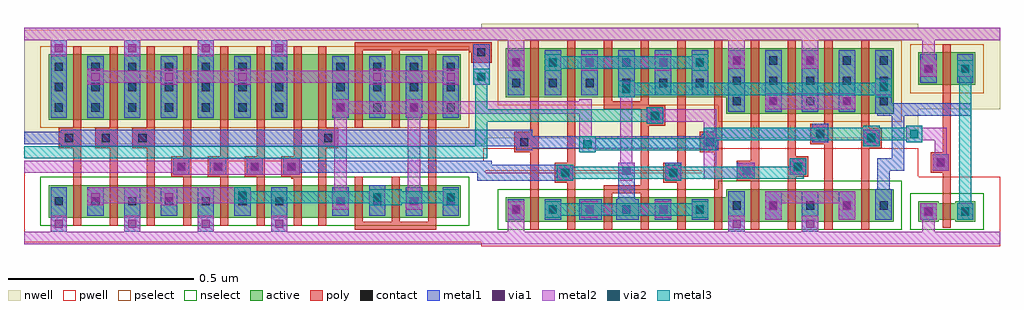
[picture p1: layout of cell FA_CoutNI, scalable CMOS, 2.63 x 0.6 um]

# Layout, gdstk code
import gdstk
lib = gdstk.Library(unit=1e-6, precision=1e-11)
def R(c, l, rs):  # rectangles x0, y0, x1, y1
    for r in rs: c.add(gdstk.rectangle(r[:2], r[2:], *l))
def A(c, l, x, y, w, h, nx, ny, dx, dy):  # array of equal rectangles
    R(c, l, [(x+i*dx, y+j*dy, x+i*dx+w, y+j*dy+h) for i in range(nx) for j in range(ny)])
contact = (25, 0)
pwell = (41, 0)
nwell = (42, 0)
active = (43, 0)
pselect = (44, 0)
nselect = (45, 0)
poly = (46, 0)
metal1 = (49, 0)
via1 = (50, 0)
metal2 = (51, 0)
via2 = (61, 0)
metal3 = (62, 0)

fa_coutni = lib.new_cell('FA_CoutNI')
A(fa_coutni, contact, -0.176, -0.1815, 0.022, 0.022, 6, 2, 0.099, 0.341)
A(fa_coutni, contact, 0.418, -0.1705, 0.022, 0.022, 5, 2, 0.099, 0.2805)
A(fa_coutni, contact, -1.408, -0.1595, 0.022, 0.022, 7, 2, 0.099, 0.253)
A(fa_coutni, contact, -0.649, -0.1595, 0.022, 0.022, 4, 2, 0.099, 0.253)
A(fa_coutni, contact, -1.078, -0.066, 0.022, 0.022, 4, 1, 0.099, 0)
A(fa_coutni, contact, -1.3805, 0.011, 0.022, 0.022, 3, 1, 0.099, 0)
A(fa_coutni, contact, -1.408, 0.1485, 0.022, 0.022, 7, 2, 0.099, 0.055)
A(fa_coutni, contact, -0.649, 0.1485, 0.022, 0.022, 4, 2, 0.099, 0.055)
A(fa_coutni, contact, 0.418, 0.165, 0.022, 0.022, 5, 2, 0.099, 0.055)
A(fa_coutni, contact, -0.176, 0.2145, 0.022, 0.022, 6, 1, 0.099, 0)
R(fa_coutni, contact, [(0.935,-0.187,0.957,-0.165), (1.034,-0.187,1.056,-0.165), (-0.044,-0.0825,-0.022,-0.0605), (0.2475,-0.0825,0.2695,-0.0605), (0.4455,-0.077,0.4675,-0.055), (0.583,-0.066,0.605,-0.044), (0.968,-0.055,0.99,-0.033), (-0.154,0,-0.132,0.022), (0.3465,0,0.3685,0.022), (-0.682,0.011,-0.66,0.033), (0.781,0.011,0.803,0.033), (0.6435,0.022,0.6655,0.044), (0.198,0.0715,0.22,0.0935), (0.935,0.198,0.957,0.22), (1.034,0.198,1.056,0.22), (-0.2695,0.242,-0.2475,0.264)])
A(fa_coutni, pwell, -0.2585, -0.2695, 0.187, 0.198, 6, 1, 0.099, 0)
A(fa_coutni, pwell, -0.2255, -0.2695, 0.22, 0.198, 6, 1, 0.099, 0)
A(fa_coutni, pwell, 0.3355, -0.2695, 0.187, 0.22, 5, 1, 0.099, 0)
A(fa_coutni, pwell, 0.3685, -0.2695, 0.22, 0.22, 4, 1, 0.099, 0)
A(fa_coutni, pwell, -1.4905, -0.2585, 0.187, 0.22, 7, 1, 0.099, 0)
A(fa_coutni, pwell, -1.4575, -0.2585, 0.22, 0.22, 7, 1, 0.099, 0)
A(fa_coutni, pwell, -0.7975, -0.2585, 0.22, 0.22, 4, 1, 0.099, 0)
A(fa_coutni, pwell, -0.7315, -0.2585, 0.187, 0.22, 4, 1, 0.099, 0)
R(fa_coutni, pwell, [(0.8525,-0.2695,1.0395,-0.0825), (0.9515,-0.2695,1.1385,-0.0825), (0.8855,-0.264,1.1055,-0.088), (0.946,-0.264,0.9542,-0.088), (1.0367,-0.264,1.045,-0.088), (-0.165,-0.253,-0.1567,-0.088), (-0.1567,-0.253,0.0165,-0.088), (-0.0742,-0.253,-0.066,-0.088), (-0.066,-0.253,-0.0577,-0.088), (0.0247,-0.253,0.033,-0.088), (0.033,-0.253,0.0412,-0.088), (0.1237,-0.253,0.132,-0.088), (0.132,-0.253,0.1402,-0.088), (0.2227,-0.253,0.231,-0.088), (0.231,-0.253,0.2392,-0.088), (0.3217,-0.253,0.33,-0.088), (0.33,-0.253,0.3382,-0.088), (0.4207,-0.242,0.429,-0.077), (0.429,-0.242,0.4372,-0.077), (0.5197,-0.242,0.528,-0.077), (0.528,-0.242,0.5363,-0.077), (0.6187,-0.242,0.627,-0.077), (0.627,-0.242,0.6352,-0.077), (0.7177,-0.242,0.726,-0.077), (0.726,-0.242,0.7342,-0.077), (0.8167,-0.242,0.825,-0.077), (-1.4795,-0.22,-1.3062,-0.055), (-1.3062,-0.22,-1.298,-0.055), (-1.298,-0.22,-1.2897,-0.055), (-1.2072,-0.22,-1.199,-0.055), (-1.199,-0.22,-1.1907,-0.055), (-1.1082,-0.22,-1.1,-0.055), (-1.1,-0.22,-1.0917,-0.055), (-1.0092,-0.22,-1.001,-0.055), (-1.001,-0.22,-0.9927,-0.055), (-0.9102,-0.22,-0.902,-0.055), (-0.902,-0.22,-0.8937,-0.055), (-0.8112,-0.22,-0.803,-0.055), (-0.803,-0.22,-0.7947,-0.055), (-0.7287,-0.22,-0.7122,-0.055), (-0.6462,-0.22,-0.638,-0.055), (-0.638,-0.22,-0.6297,-0.055), (-0.5472,-0.22,-0.539,-0.055), (-0.539,-0.22,-0.5307,-0.055), (-0.4482,-0.22,-0.44,-0.055), (-0.44,-0.22,-0.4317,-0.055), (-0.3492,-0.22,-0.341,-0.055), (-0.253,-0.066,0.9185,-0.033), (-0.253,-0.0385,0.9185,-0.0055)])
A(fa_coutni, nwell, -1.4905, 0.0055, 0.187, 0.308, 7, 1, 0.099, 0)
A(fa_coutni, nwell, -1.4575, 0.0055, 0.22, 0.308, 7, 1, 0.099, 0)
A(fa_coutni, nwell, -0.7975, 0.0055, 0.22, 0.308, 4, 1, 0.099, 0)
A(fa_coutni, nwell, -0.7315, 0.0055, 0.187, 0.308, 4, 1, 0.099, 0)
A(fa_coutni, nwell, 0.3355, 0.022, 0.187, 0.308, 5, 1, 0.099, 0)
A(fa_coutni, nwell, 0.3685, 0.022, 0.22, 0.308, 4, 1, 0.099, 0)
A(fa_coutni, nwell, -0.2585, 0.066, 0.187, 0.264, 6, 1, 0.099, 0)
A(fa_coutni, nwell, -0.2255, 0.066, 0.22, 0.264, 6, 1, 0.099, 0)
R(fa_coutni, nwell, [(-0.264,0.022,0.3355,0.044), (0.429,0.022,0.4372,0.33), (0.528,0.022,0.5363,0.33), (0.6187,0.022,0.627,0.33), (0.627,0.022,0.6352,0.33), (0.7177,0.022,0.726,0.33), (0.726,0.022,0.7342,0.33), (0.8167,0.022,0.825,0.33), (-0.2585,0.044,0.341,0.066), (-0.7287,0.0605,-0.7122,0.2255), (0.4207,0.066,0.429,0.33), (-1.4795,0.077,-1.3062,0.242), (-1.3887,0.077,-1.2155,0.242), (-1.3805,0.077,-1.2072,0.242), (-1.2897,0.077,-1.1165,0.242), (-1.2815,0.077,-1.1082,0.242), (-1.1907,0.077,-1.0175,0.242), (-1.1825,0.077,-1.0092,0.242), (-1.0917,0.077,-0.9185,0.242), (-1.0835,0.077,-0.9102,0.242), (-0.9927,0.077,-0.8195,0.242), (-0.9845,0.077,-0.8112,0.242), (-0.8937,0.077,-0.7205,0.242), (-0.8855,0.077,-0.7122,0.242), (-0.6462,0.077,-0.638,0.242), (-0.638,0.077,-0.6297,0.242), (-0.5472,0.077,-0.539,0.242), (-0.539,0.077,-0.5307,0.242), (-0.4482,0.077,-0.44,0.242), (-0.44,0.077,-0.4317,0.242), (-0.3492,0.077,-0.341,0.242), (0.5197,0.0935,0.528,0.2585), (0.8525,0.099,1.0395,0.319), (0.8855,0.099,1.1055,0.319), (0.946,0.099,0.9542,0.319), (0.9515,0.099,1.1385,0.319), (1.0367,0.099,1.045,0.319), (-0.165,0.1155,-0.1567,0.2805), (-0.0742,0.1155,-0.066,0.2805), (-0.066,0.1155,-0.0577,0.2805), (0.033,0.1155,0.0412,0.2805), (0.1237,0.1155,0.132,0.2805), (0.132,0.1155,0.1402,0.2805), (0.2227,0.1155,0.231,0.2805), (0.231,0.1155,0.2392,0.2805), (0.3217,0.1155,0.33,0.2805), (0.33,0.1155,0.3382,0.2805), (0.0247,0.121,0.033,0.286)])
A(fa_coutni, active, -0.1925, -0.2035, 0.055, 0.066, 6, 1, 0.099, 0)
A(fa_coutni, active, -0.1595, -0.2035, 0.088, 0.066, 6, 1, 0.099, 0)
A(fa_coutni, active, 0.4015, -0.2035, 0.055, 0.088, 5, 1, 0.099, 0)
A(fa_coutni, active, 0.4345, -0.2035, 0.088, 0.088, 4, 1, 0.099, 0)
A(fa_coutni, active, -1.4245, -0.1925, 0.055, 0.088, 7, 1, 0.099, 0)
A(fa_coutni, active, -1.3915, -0.1925, 0.088, 0.088, 7, 1, 0.099, 0)
A(fa_coutni, active, -0.7315, -0.1925, 0.088, 0.088, 4, 1, 0.099, 0)
A(fa_coutni, active, -0.6655, -0.1925, 0.055, 0.088, 4, 1, 0.099, 0)
A(fa_coutni, active, -1.4245, 0.0715, 0.055, 0.176, 7, 1, 0.099, 0)
A(fa_coutni, active, -1.3915, 0.0715, 0.088, 0.176, 7, 1, 0.099, 0)
A(fa_coutni, active, -0.7315, 0.0715, 0.088, 0.176, 4, 1, 0.099, 0)
A(fa_coutni, active, -0.6655, 0.0715, 0.055, 0.176, 4, 1, 0.099, 0)
A(fa_coutni, active, 0.4015, 0.088, 0.055, 0.176, 5, 1, 0.099, 0)
A(fa_coutni, active, 0.4345, 0.088, 0.088, 0.176, 4, 1, 0.099, 0)
A(fa_coutni, active, -0.1925, 0.132, 0.055, 0.132, 6, 1, 0.099, 0)
A(fa_coutni, active, -0.1595, 0.132, 0.088, 0.132, 6, 1, 0.099, 0)
R(fa_coutni, active, [(0.9185,-0.2035,0.9735,-0.1485), (1.0175,-0.2035,1.0725,-0.1485), (0.946,-0.198,0.9542,-0.154), (0.9515,-0.198,1.0395,-0.154), (1.0367,-0.198,1.045,-0.154), (-0.165,-0.187,-0.1567,-0.154), (-0.0907,-0.187,-0.0495,-0.154), (-0.0742,-0.187,-0.066,-0.154), (-0.066,-0.187,-0.0577,-0.154), (0.0247,-0.187,0.033,-0.154), (0.033,-0.187,0.0412,-0.154), (0.1237,-0.187,0.132,-0.154), (0.132,-0.187,0.1402,-0.154), (0.2227,-0.187,0.231,-0.154), (0.231,-0.187,0.2392,-0.154), (0.3217,-0.187,0.33,-0.154), (0.33,-0.187,0.3382,-0.154), (0.4207,-0.176,0.429,-0.143), (0.429,-0.176,0.4372,-0.143), (0.5197,-0.176,0.528,-0.143), (0.528,-0.176,0.5363,-0.143), (0.6187,-0.176,0.627,-0.143), (0.627,-0.176,0.6352,-0.143), (0.7177,-0.176,0.726,-0.143), (0.726,-0.176,0.7342,-0.143), (0.8167,-0.176,0.825,-0.143), (-1.4135,-0.154,-1.3722,-0.121), (-1.3062,-0.154,-1.298,-0.121), (-1.298,-0.154,-1.2897,-0.121), (-1.2072,-0.154,-1.199,-0.121), (-1.199,-0.154,-1.1907,-0.121), (-1.1082,-0.154,-1.1,-0.121), (-1.1,-0.154,-1.0917,-0.121), (-1.0092,-0.154,-1.001,-0.121), (-1.001,-0.154,-0.9927,-0.121), (-0.9102,-0.154,-0.902,-0.121), (-0.902,-0.154,-0.8937,-0.121), (-0.8112,-0.154,-0.803,-0.121), (-0.803,-0.154,-0.7947,-0.121), (-0.7287,-0.154,-0.7122,-0.121), (-0.6462,-0.154,-0.638,-0.121), (-0.638,-0.154,-0.6297,-0.121), (-0.5472,-0.154,-0.539,-0.121), (-0.539,-0.154,-0.5307,-0.121), (-0.4482,-0.154,-0.44,-0.121), (-0.44,-0.154,-0.4317,-0.121), (-0.3492,-0.154,-0.341,-0.121), (0.429,0.088,0.4372,0.264), (0.528,0.088,0.5363,0.264), (0.6187,0.088,0.627,0.264), (0.627,0.088,0.6352,0.264), (0.7177,0.088,0.726,0.264), (0.726,0.088,0.7342,0.264), (0.8167,0.088,0.825,0.264), (-0.7287,0.1265,-0.7122,0.1595), (0.4207,0.132,0.429,0.264), (-1.4135,0.143,-1.3722,0.176), (-1.3227,0.143,-1.2815,0.176), (-1.3145,0.143,-1.2732,0.176), (-1.2237,0.143,-1.1825,0.176), (-1.2155,0.143,-1.1742,0.176), (-1.1247,0.143,-1.0835,0.176), (-1.1165,0.143,-1.0752,0.176), (-1.0257,0.143,-0.9845,0.176), (-1.0175,0.143,-0.9762,0.176), (-0.9267,0.143,-0.8855,0.176), (-0.9185,0.143,-0.8772,0.176), (-0.8277,0.143,-0.7865,0.176), (-0.8195,0.143,-0.7782,0.176), (-0.6462,0.143,-0.638,0.176), (-0.638,0.143,-0.6297,0.176), (-0.5472,0.143,-0.539,0.176), (-0.539,0.143,-0.5307,0.176), (-0.4482,0.143,-0.44,0.176), (-0.44,0.143,-0.4317,0.176), (-0.3492,0.143,-0.341,0.176), (0.5197,0.1595,0.528,0.1925), (0.9185,0.165,0.9735,0.253), (0.946,0.165,0.9542,0.253), (0.9515,0.165,1.0395,0.253), (1.0175,0.165,1.0725,0.253), (1.0367,0.165,1.045,0.253), (-0.165,0.1815,-0.1567,0.2145), (-0.0742,0.1815,-0.066,0.2145), (-0.066,0.1815,-0.0577,0.2145), (0.033,0.1815,0.0412,0.2145), (0.1237,0.1815,0.132,0.2145), (0.132,0.1815,0.1402,0.2145), (0.2227,0.1815,0.231,0.2145), (0.231,0.1815,0.2392,0.2145), (0.3217,0.1815,0.33,0.2145), (0.33,0.1815,0.3382,0.2145), (0.0247,0.187,0.033,0.22)])
A(fa_coutni, pselect, -1.4465, 0.0495, 0.099, 0.22, 7, 1, 0.099, 0)
A(fa_coutni, pselect, -1.4135, 0.0495, 0.132, 0.22, 7, 1, 0.099, 0)
A(fa_coutni, pselect, -0.7535, 0.0495, 0.132, 0.22, 4, 1, 0.099, 0)
A(fa_coutni, pselect, -0.6875, 0.0495, 0.099, 0.22, 4, 1, 0.099, 0)
A(fa_coutni, pselect, 0.3795, 0.066, 0.099, 0.22, 5, 1, 0.099, 0)
A(fa_coutni, pselect, 0.4125, 0.066, 0.132, 0.22, 4, 1, 0.099, 0)
A(fa_coutni, pselect, -0.2145, 0.11, 0.099, 0.176, 6, 1, 0.099, 0)
A(fa_coutni, pselect, -0.1815, 0.11, 0.132, 0.176, 6, 1, 0.099, 0)
R(fa_coutni, pselect, [(0.429,0.066,0.4372,0.286), (0.528,0.066,0.5363,0.286), (0.6187,0.066,0.627,0.286), (0.627,0.066,0.6352,0.286), (0.7177,0.066,0.726,0.286), (0.726,0.066,0.7342,0.286), (0.8167,0.066,0.825,0.286), (-0.7287,0.1045,-0.7122,0.1815), (0.4207,0.11,0.429,0.286), (-1.4355,0.121,-1.3502,0.198), (-1.3447,0.121,-1.2595,0.198), (-1.3365,0.121,-1.2512,0.198), (-1.2457,0.121,-1.1605,0.198), (-1.2375,0.121,-1.1522,0.198), (-1.1467,0.121,-1.0615,0.198), (-1.1385,0.121,-1.0532,0.198), (-1.0477,0.121,-0.9625,0.198), (-1.0395,0.121,-0.9542,0.198), (-0.9487,0.121,-0.8635,0.198), (-0.9405,0.121,-0.8552,0.198), (-0.8497,0.121,-0.7645,0.198), (-0.8415,0.121,-0.7562,0.198), (-0.6462,0.121,-0.638,0.198), (-0.638,0.121,-0.6297,0.198), (-0.5472,0.121,-0.539,0.198), (-0.539,0.121,-0.5307,0.198), (-0.4482,0.121,-0.44,0.198), (-0.44,0.121,-0.4317,0.198), (-0.3492,0.121,-0.341,0.198), (0.5197,0.1375,0.528,0.2145), (0.8965,0.143,0.9955,0.275), (0.9295,0.143,1.0615,0.275), (0.946,0.143,0.9542,0.275), (0.9955,0.143,1.0945,0.275), (1.0367,0.143,1.045,0.275), (-0.165,0.1595,-0.1567,0.2365), (-0.0742,0.1595,-0.066,0.2365), (-0.066,0.1595,-0.0577,0.2365), (0.033,0.1595,0.0412,0.2365), (0.1237,0.1595,0.132,0.2365), (0.132,0.1595,0.1402,0.2365), (0.2227,0.1595,0.231,0.2365), (0.231,0.1595,0.2392,0.2365), (0.3217,0.1595,0.33,0.2365), (0.33,0.1595,0.3382,0.2365), (0.0247,0.165,0.033,0.242)])
A(fa_coutni, nselect, -0.2145, -0.2255, 0.099, 0.11, 6, 1, 0.099, 0)
A(fa_coutni, nselect, -0.1815, -0.2255, 0.132, 0.11, 6, 1, 0.099, 0)
A(fa_coutni, nselect, 0.3795, -0.2255, 0.099, 0.132, 5, 1, 0.099, 0)
A(fa_coutni, nselect, 0.4125, -0.2255, 0.132, 0.132, 4, 1, 0.099, 0)
A(fa_coutni, nselect, -1.4465, -0.2145, 0.099, 0.132, 7, 1, 0.099, 0)
A(fa_coutni, nselect, -1.4135, -0.2145, 0.132, 0.132, 7, 1, 0.099, 0)
A(fa_coutni, nselect, -0.7535, -0.2145, 0.132, 0.132, 4, 1, 0.099, 0)
A(fa_coutni, nselect, -0.6875, -0.2145, 0.099, 0.132, 4, 1, 0.099, 0)
R(fa_coutni, nselect, [(0.8965,-0.2255,0.9955,-0.1265), (0.9955,-0.2255,1.0945,-0.1265), (0.9295,-0.22,1.0615,-0.132), (0.946,-0.22,0.9542,-0.132), (1.0367,-0.22,1.045,-0.132), (-0.165,-0.209,-0.1567,-0.132), (-0.1127,-0.209,-0.0275,-0.132), (-0.0742,-0.209,-0.066,-0.132), (-0.066,-0.209,-0.0577,-0.132), (0.0247,-0.209,0.033,-0.132), (0.033,-0.209,0.0412,-0.132), (0.1237,-0.209,0.132,-0.132), (0.132,-0.209,0.1402,-0.132), (0.2227,-0.209,0.231,-0.132), (0.231,-0.209,0.2392,-0.132), (0.3217,-0.209,0.33,-0.132), (0.33,-0.209,0.3382,-0.132), (0.4207,-0.198,0.429,-0.121), (0.429,-0.198,0.4372,-0.121), (0.5197,-0.198,0.528,-0.121), (0.528,-0.198,0.5363,-0.121), (0.6187,-0.198,0.627,-0.121), (0.627,-0.198,0.6352,-0.121), (0.7177,-0.198,0.726,-0.121), (0.726,-0.198,0.7342,-0.121), (0.8167,-0.198,0.825,-0.121), (-1.4355,-0.176,-1.3502,-0.099), (-1.3062,-0.176,-1.298,-0.099), (-1.298,-0.176,-1.2897,-0.099), (-1.2072,-0.176,-1.199,-0.099), (-1.199,-0.176,-1.1907,-0.099), (-1.1082,-0.176,-1.1,-0.099), (-1.1,-0.176,-1.0917,-0.099), (-1.0092,-0.176,-1.001,-0.099), (-1.001,-0.176,-0.9927,-0.099), (-0.9102,-0.176,-0.902,-0.099), (-0.902,-0.176,-0.8937,-0.099), (-0.8112,-0.176,-0.803,-0.099), (-0.803,-0.176,-0.7947,-0.099), (-0.7287,-0.176,-0.7122,-0.099), (-0.6462,-0.176,-0.638,-0.099), (-0.638,-0.176,-0.6297,-0.099), (-0.5472,-0.176,-0.539,-0.099), (-0.539,-0.176,-0.5307,-0.099), (-0.4482,-0.176,-0.44,-0.099), (-0.44,-0.176,-0.4317,-0.099), (-0.3492,-0.176,-0.341,-0.099)])
A(fa_coutni, poly, -0.1265, -0.2255, 0.022, 0.11, 6, 1, 0.099, 0)
A(fa_coutni, poly, 0.4675, -0.2255, 0.022, 0.132, 4, 1, 0.099, 0)
A(fa_coutni, poly, -1.3585, -0.2145, 0.022, 0.132, 7, 1, 0.099, 0)
A(fa_coutni, poly, -0.6985, -0.2145, 0.022, 0.132, 4, 1, 0.099, 0)
A(fa_coutni, poly, -1.0615, -0.0935, 0.022, 0.0495, 3, 1, 0.099, 0)
A(fa_coutni, poly, -1.0945, -0.0825, 0.055, 0.055, 4, 1, 0.099, 0)
A(fa_coutni, poly, -1.067, -0.0825, 0.0165, 0.055, 3, 1, 0.099, 0)
A(fa_coutni, poly, -1.0615, -0.066, 0.022, 0.1265, 3, 1, 0.099, 0)
A(fa_coutni, poly, -1.397, -0.0055, 0.055, 0.055, 3, 1, 0.099, 0)
A(fa_coutni, poly, -1.3695, -0.0055, 0.022, 0.055, 3, 1, 0.099, 0)
A(fa_coutni, poly, -1.3585, 0.011, 0.022, 0.0495, 3, 1, 0.099, 0)
A(fa_coutni, poly, -1.3585, 0.0495, 0.022, 0.22, 7, 1, 0.099, 0)
A(fa_coutni, poly, -0.6985, 0.0495, 0.022, 0.22, 4, 1, 0.099, 0)
A(fa_coutni, poly, 0.4675, 0.066, 0.022, 0.22, 4, 1, 0.099, 0)
A(fa_coutni, poly, -0.1265, 0.11, 0.022, 0.176, 6, 1, 0.099, 0)
R(fa_coutni, poly, [(-0.5995,-0.2255,-0.4785,-0.2035), (-0.5005,-0.2255,-0.3795,-0.2035), (0.9845,-0.22,1.0065,-0.132), (0.9845,-0.143,1.0065,-0.033), (-0.1265,-0.1265,-0.1045,0.022), (-0.0275,-0.1265,-0.0055,-0.0605), (0.0715,-0.1265,0.1925,-0.1045), (0.1705,-0.1265,0.1925,0.0935), (0.2695,-0.1265,0.2915,-0.0605), (0.3685,-0.1265,0.3905,0.022), (0.4675,-0.1045,0.4895,-0.055), (0.5665,-0.1045,0.5885,-0.044), (0.6655,-0.1045,0.6875,0.044), (0.7645,-0.1045,0.7865,0.033), (-0.0605,-0.099,-0.0055,-0.044), (-0.0385,-0.099,-0.0165,-0.044), (0.231,-0.099,0.286,-0.044), (0.2585,-0.099,0.2805,-0.044), (-1.3585,-0.0935,-1.3365,0.033), (-1.2595,-0.0935,-1.2375,0.0605), (-1.1605,-0.0935,-1.1385,0.033), (-0.7645,-0.0935,-0.7425,-0.0495), (-0.6985,-0.0935,-0.6765,0.033), (-0.4015,-0.0935,-0.3795,0.0605), (0.429,-0.0935,0.484,-0.0385), (0.4565,-0.0935,0.4785,-0.0385), (-0.77,-0.088,-0.7535,-0.033), (-0.0275,-0.0825,-0.0055,0.121), (0.2695,-0.0825,0.2915,0.121), (0.5665,-0.0825,0.6215,-0.0275), (0.5775,-0.0825,0.594,-0.0275), (0.4675,-0.077,0.4895,0.077), (-0.7645,-0.0715,-0.7425,0.0605), (0.9515,-0.0715,1.0065,-0.0165), (0.5665,-0.066,0.5885,0.077), (0.9625,-0.055,1.0065,-0.033), (0.9845,-0.055,1.0065,0.154), (-0.1705,-0.0165,-0.1155,0.0385), (-0.1485,-0.0165,-0.1155,0.0385), (0.33,-0.0165,0.385,0.0385), (0.3575,-0.0165,0.3795,0.0385), (-0.6985,-0.0055,-0.6435,0.0495), (-0.6875,-0.0055,-0.6655,0.0495), (0.7645,-0.0055,0.8195,0.0495), (0.7755,-0.0055,0.792,0.0495), (-0.1265,0,-0.1045,0.121), (0.3685,0,0.3905,0.121), (0.627,0.0055,0.682,0.0605), (0.6545,0.0055,0.6765,0.0605), (-0.6985,0.011,-0.6765,0.0605), (0.7645,0.011,0.7865,0.077), (0.6655,0.022,0.6875,0.077), (0.1815,0.055,0.2365,0.11), (0.1815,0.055,0.209,0.11), (0.1705,0.0715,0.1925,0.121), (0.0715,0.099,0.1925,0.121), (0.9845,0.132,1.0065,0.154), (0.9845,0.143,1.0065,0.275), (-0.286,0.2255,-0.231,0.2805), (-0.2805,0.2255,-0.2585,0.2805), (-0.2915,0.253,-0.2695,0.2695), (-0.5995,0.2585,-0.4785,0.2805), (-0.5005,0.2585,-0.3795,0.2805), (-0.4015,0.2585,-0.2695,0.2805)])
A(fa_coutni, metal1, -1.419, -0.231, 0.044, 0.044, 4, 2, 0.198, 0.473)
A(fa_coutni, metal1, -1.419, -0.231, 0.044, 0.11, 4, 1, 0.198, 0)
A(fa_coutni, metal1, -0.187, -0.198, 0.044, 0.055, 6, 1, 0.099, 0)
A(fa_coutni, metal1, 0.506, -0.198, 0.044, 0.077, 3, 1, 0.099, 0)
A(fa_coutni, metal1, -1.419, -0.187, 0.044, 0.077, 7, 1, 0.099, 0)
A(fa_coutni, metal1, -0.66, -0.187, 0.044, 0.077, 4, 1, 0.099, 0)
A(fa_coutni, metal1, -1.3915, 0, 0.044, 0.044, 3, 1, 0.099, 0)
A(fa_coutni, metal1, -1.419, 0.077, 0.044, 0.165, 7, 1, 0.099, 0)
A(fa_coutni, metal1, -0.66, 0.077, 0.044, 0.165, 4, 1, 0.099, 0)
A(fa_coutni, metal1, 0.407, 0.0935, 0.044, 0.165, 5, 1, 0.099, 0)
A(fa_coutni, metal1, -1.419, 0.1375, 0.044, 0.1485, 4, 1, 0.198, 0)
A(fa_coutni, metal1, -1.32, 0.1375, 0.044, 0.0715, 3, 1, 0.198, 0)
A(fa_coutni, metal1, -0.187, 0.1375, 0.044, 0.121, 6, 1, 0.099, 0)
A(fa_coutni, metal1, -1.32, 0.165, 0.044, 0.044, 3, 1, 0.198, 0)
A(fa_coutni, metal1, -0.187, 0.2035, 0.044, 0.044, 3, 1, 0.099, 0)
R(fa_coutni, metal1, [(0.407,-0.231,0.451,-0.187), (0.407,-0.231,0.451,-0.1375), (0.605,-0.231,0.649,-0.187), (0.605,-0.22,0.649,-0.1375), (0.0055,-0.198,0.066,-0.143), (0.1045,-0.198,0.165,-0.143), (0.407,-0.198,0.451,-0.121), (0.506,-0.198,0.55,-0.121), (0.704,-0.198,0.748,-0.121), (0.803,-0.198,0.847,-0.121), (0.924,-0.198,0.968,-0.154), (0.924,-0.198,0.968,-0.154), (0.924,-0.198,0.968,-0.154), (1.023,-0.198,1.067,-0.154), (1.023,-0.198,1.067,-0.154), (1.023,-0.198,1.067,-0.154), (-0.187,-0.1925,-0.143,-0.1485), (-0.187,-0.1925,-0.143,-0.1485), (-0.088,-0.1925,-0.044,-0.1485), (-0.088,-0.1925,-0.044,-0.1485), (0.011,-0.1925,0.055,-0.1485), (0.0165,-0.1925,0.0605,-0.1485), (0.11,-0.1925,0.154,-0.055), (0.209,-0.1925,0.253,-0.1485), (0.209,-0.1925,0.253,-0.1485), (0.308,-0.1925,0.352,-0.1485), (0.308,-0.1925,0.352,-0.1485), (0.803,-0.1815,0.847,-0.1155), (-1.32,-0.1705,-1.276,-0.1155), (-1.122,-0.1705,-1.078,-0.1155), (-0.924,-0.1705,-0.88,-0.11), (-0.66,-0.1705,-0.616,-0.1265), (-0.66,-0.1705,-0.616,-0.1265), (-0.561,-0.1705,-0.517,-0.1045), (-0.462,-0.1705,-0.418,-0.1265), (-0.462,-0.1705,-0.418,-0.1265), (-0.363,-0.1705,-0.319,-0.1155), (-1.32,-0.1595,-1.276,-0.1155), (-1.122,-0.1595,-1.078,-0.1155), (-0.561,-0.1595,-0.517,-0.1155), (-0.363,-0.1595,-0.319,-0.1155), (-0.924,-0.154,-0.88,-0.11), (0.8085,-0.154,0.8415,-0.033), (-0.2695,-0.0935,-0.011,-0.0495), (-0.264,-0.0935,-0.231,-0.055), (-0.055,-0.0935,-0.011,-0.0495), (-0.055,-0.0935,-0.011,-0.0495), (-0.055,-0.0935,-0.011,-0.0495), (-0.055,-0.0935,-0.011,-0.0495), (0.2365,-0.0935,0.2805,-0.0495), (0.2365,-0.0935,0.2805,-0.0495), (0.2365,-0.0935,0.2805,-0.044), (-0.0495,-0.088,-0.0165,-0.055), (0.11,-0.088,0.154,-0.044), (0.429,-0.088,0.4785,-0.044), (0.4345,-0.088,0.4785,-0.044), (0.4345,-0.088,0.4785,-0.044), (-1.089,-0.077,-1.045,-0.033), (-1.089,-0.077,-1.045,-0.033), (-1.089,-0.077,-1.045,-0.033), (-1.089,-0.077,-1.045,-0.033), (-0.99,-0.077,-0.946,-0.033), (-0.99,-0.077,-0.946,-0.033), (-0.99,-0.077,-0.946,-0.033), (-0.99,-0.077,-0.946,-0.033), (-0.891,-0.077,-0.847,-0.033), (-0.891,-0.077,-0.847,-0.033), (-0.891,-0.077,-0.847,-0.033), (-0.792,-0.077,-0.748,-0.033), (-0.792,-0.077,-0.748,-0.033), (-0.792,-0.077,-0.748,-0.033), (-0.264,-0.077,-0.231,-0.055), (-0.264,-0.077,-0.231,-0.0715), (0.572,-0.077,0.616,-0.033), (0.572,-0.077,0.616,-0.033), (0.572,-0.077,0.616,-0.033), (0.572,-0.077,0.616,-0.033), (-1.0835,-0.0715,-1.0505,-0.0385), (-0.9845,-0.0715,-0.9515,-0.0385), (-0.7865,-0.0715,-0.517,-0.0385), (-0.55,-0.0715,-0.231,-0.0385), (0.5775,-0.0715,0.6105,-0.0385), (0.8085,-0.066,0.88,-0.033), (0.847,-0.066,0.88,0.1155), (0.957,-0.066,1.001,-0.022), (0.957,-0.066,1.001,-0.022), (0.957,-0.066,1.001,-0.022), (-0.165,-0.011,-0.121,0.044), (-0.165,-0.011,-0.121,0.033), (0.3355,-0.011,0.3795,0.033), (-0.1595,-0.0055,0.1705,0.0275), (0.1375,-0.0055,0.374,0.0275), (0.341,-0.0055,0.374,0.0495), (-1.3915,0,-1.2485,0.044), (-1.2925,0,-1.1495,0.044), (-1.1935,0,-0.649,0.044), (-0.693,0,-0.649,0.044), (-0.693,0,-0.2695,0.044), (-0.3135,0,-0.121,0.044), (0.77,0,0.814,0.044), (0.77,0,0.814,0.044), (0.77,0,0.814,0.044), (0.77,0,0.814,0.044), (-1.4905,0.0055,-1.353,0.0385), (0.7755,0.0055,0.8085,0.0385), (0.6325,0.011,0.6765,0.055), (0.6325,0.011,0.6765,0.0605), (0.341,0.0165,0.671,0.0495), (0.187,0.0605,0.231,0.1045), (0.187,0.0605,0.231,0.1045), (0.187,0.0605,0.231,0.1045), (0.1925,0.066,0.2255,0.099), (0.1925,0.066,0.2255,0.099), (-0.66,0.0825,-0.616,0.1265), (-0.66,0.0825,-0.616,0.1815), (-0.462,0.0825,-0.418,0.1265), (-0.462,0.0825,-0.418,0.1815), (0.8085,0.0825,0.8415,0.132), (0.8085,0.0825,0.88,0.1155), (0.847,0.0825,1.0615,0.1155), (0.803,0.088,0.847,0.198), (0.803,0.0935,0.847,0.198), (0.506,0.099,0.55,0.143), (0.506,0.099,0.55,0.198), (0.704,0.099,0.748,0.143), (0.704,0.099,0.748,0.198), (0.803,0.099,0.847,0.198), (0.11,0.132,0.154,0.176), (0.11,0.132,0.154,0.22), (-0.561,0.1375,-0.517,0.209), (-0.363,0.1375,-0.319,0.2035), (0.803,0.1375,0.847,0.1815), (0.8085,0.143,0.8415,0.176), (0.407,0.154,0.451,0.253), (0.605,0.154,0.649,0.253), (-0.561,0.165,-0.517,0.209), (-0.363,0.165,-0.319,0.209), (-0.2805,0.165,-0.2365,0.209), (-0.2805,0.165,-0.2365,0.275), (0.924,0.1705,0.968,0.2475), (1.023,0.1705,1.067,0.2475), (-0.187,0.176,-0.143,0.2475), (0.011,0.176,0.055,0.2475), (-0.0825,0.1815,-0.0495,0.242), (0.2145,0.1815,0.2475,0.242), (0.3135,0.1815,0.3465,0.242), (0.924,0.187,0.968,0.231), (0.924,0.187,0.968,0.231), (1.023,0.187,1.067,0.231), (1.023,0.187,1.067,0.231), (0.209,0.2035,0.253,0.2475), (0.308,0.2035,0.352,0.2475), (0.407,0.209,0.451,0.253), (0.605,0.209,0.649,0.253), (-0.2805,0.231,-0.2365,0.275)])
A(fa_coutni, via1, -1.408, -0.22, 0.022, 0.022, 4, 2, 0.198, 0.473)
A(fa_coutni, via1, -0.176, -0.1815, 0.022, 0.022, 3, 2, 0.099, 0.396)
A(fa_coutni, via1, -0.979, -0.066, 0.022, 0.022, 3, 1, 0.099, 0)
A(fa_coutni, via1, -1.309, 0.176, 0.022, 0.022, 3, 1, 0.198, 0)
R(fa_coutni, via1, [(0.418,-0.22,0.44,-0.198), (0.616,-0.22,0.638,-0.198), (0.935,-0.187,0.957,-0.165), (1.034,-0.187,1.056,-0.165), (0.22,-0.1815,0.242,-0.1595), (0.319,-0.1815,0.341,-0.1595), (0.517,-0.1705,0.539,-0.1485), (0.715,-0.1705,0.737,-0.1485), (-0.649,-0.1595,-0.627,-0.1375), (-0.451,-0.1595,-0.429,-0.1375), (-1.309,-0.1485,-1.287,-0.1265), (-1.111,-0.1485,-1.089,-0.1265), (-0.55,-0.1485,-0.528,-0.1265), (-0.352,-0.1485,-0.33,-0.1265), (-0.913,-0.143,-0.891,-0.121), (-0.044,-0.0825,-0.022,-0.0605), (-0.044,-0.0825,-0.022,-0.0605), (0.2475,-0.0825,0.2695,-0.0605), (0.121,-0.077,0.143,-0.055), (0.4455,-0.077,0.4675,-0.055), (-1.078,-0.066,-1.056,-0.044), (-1.078,-0.066,-1.056,-0.044), (-0.979,-0.066,-0.957,-0.044), (0.583,-0.066,0.605,-0.044), (0.583,-0.066,0.605,-0.044), (0.968,-0.055,0.99,-0.033), (0.781,0.011,0.803,0.033), (0.781,0.011,0.803,0.033), (0.198,0.0715,0.22,0.0935), (0.198,0.0715,0.22,0.0935), (-0.649,0.0935,-0.627,0.1155), (-0.451,0.0935,-0.429,0.1155), (0.517,0.11,0.539,0.132), (0.715,0.11,0.737,0.132), (0.121,0.143,0.143,0.165), (0.814,0.1485,0.836,0.1705), (-0.55,0.176,-0.528,0.198), (-0.352,0.176,-0.33,0.198), (-0.2695,0.176,-0.2475,0.198), (0.935,0.198,0.957,0.22), (1.034,0.198,1.056,0.22), (0.22,0.2145,0.242,0.2365), (0.319,0.2145,0.341,0.2365), (0.418,0.22,0.44,0.242), (0.616,0.22,0.638,0.242)])
A(fa_coutni, metal2, -1.4135, -0.264, 0.231, 0.033, 3, 2, 0.198, 0.55)
A(fa_coutni, metal2, -1.419, -0.2475, 0.044, 0.0385, 4, 2, 0.198, 0.5115)
A(fa_coutni, metal2, -1.419, -0.231, 0.044, 0.044, 4, 2, 0.198, 0.473)
A(fa_coutni, metal2, -1.089, -0.077, 0.143, 0.044, 3, 1, 0.099, 0)
A(fa_coutni, metal2, -0.99, -0.077, 0.044, 0.044, 3, 1, 0.099, 0)
A(fa_coutni, metal2, -1.32, 0.165, 0.044, 0.044, 3, 1, 0.198, 0)
A(fa_coutni, metal2, -1.3145, 0.1705, 0.132, 0.033, 4, 1, 0.099, 0)
R(fa_coutni, metal2, [(-1.4905,-0.264,-1.3805,-0.231), (-0.8195,-0.264,-0.6215,-0.231), (-0.6545,-0.264,-0.2475,-0.231), (-0.2805,-0.264,-0.2145,-0.231), (-0.264,-0.264,-0.1595,-0.231), (-0.2475,-0.264,-0.1595,-0.231), (-0.1925,-0.264,-0.1485,-0.231), (-0.1815,-0.264,0.4455,-0.231), (0.4125,-0.264,0.6435,-0.231), (0.6105,-0.264,0.9625,-0.231), (0.9295,-0.264,1.1385,-0.231), (-0.187,-0.2475,-0.143,-0.1705), (0.407,-0.2475,0.451,-0.209), (0.605,-0.2475,0.649,-0.198), (0.9295,-0.2475,0.9625,-0.176), (0.407,-0.231,0.451,-0.187), (0.605,-0.231,0.649,-0.187), (0.506,-0.198,0.55,-0.121), (0.704,-0.198,0.748,-0.121), (0.924,-0.198,0.968,-0.154), (1.023,-0.198,1.067,-0.154), (1.023,-0.198,1.067,-0.154), (1.023,-0.198,1.067,-0.154), (-0.187,-0.1925,-0.143,-0.1485), (-0.088,-0.1925,-0.044,-0.1485), (-0.088,-0.1925,-0.044,-0.1485), (-0.088,-0.1925,-0.044,-0.1485), (0.011,-0.1925,0.055,-0.1485), (0.209,-0.1925,0.253,-0.1485), (0.308,-0.1925,0.352,-0.1485), (0.308,-0.1925,0.352,-0.1485), (0.308,-0.1925,0.352,-0.1485), (0.0165,-0.187,0.099,-0.154), (0.066,-0.187,0.2475,-0.154), (0.5115,-0.176,0.5445,-0.121), (0.7095,-0.176,0.7425,-0.121), (-0.66,-0.1705,-0.616,-0.1265), (-0.462,-0.1705,-0.418,-0.1265), (-0.6545,-0.165,-0.6215,-0.033), (-0.4565,-0.165,-0.4235,0.121), (-1.32,-0.1595,-1.276,-0.1155), (-1.122,-0.1595,-1.078,-0.1155), (-0.561,-0.1595,-0.517,-0.1155), (-0.561,-0.1595,-0.517,-0.1155), (-0.561,-0.1595,-0.517,-0.1155), (-0.363,-0.1595,-0.319,-0.1155), (-0.363,-0.1595,-0.319,-0.1155), (-1.3145,-0.154,-1.0725,-0.11), (-1.232,-0.154,-1.078,-0.11), (-1.122,-0.154,-0.935,-0.11), (-0.979,-0.154,-0.88,-0.11), (-0.924,-0.154,-0.88,-0.11), (-0.924,-0.154,-0.88,-0.11), (-0.924,-0.154,-0.88,-0.11), (-0.3575,-0.154,-0.3245,-0.121), (0.5115,-0.154,0.7425,-0.121), (0.616,-0.154,0.7425,-0.121), (-1.2265,-0.1485,-1.1935,-0.1155), (-0.055,-0.0935,-0.011,-0.0495), (-0.055,-0.0935,-0.011,-0.0495), (-0.055,-0.0935,-0.011,-0.0495), (-0.055,-0.0935,-0.011,-0.0495), (0.1155,-0.0935,0.1485,0.0275), (0.2365,-0.0935,0.2805,-0.0495), (0.2365,-0.0935,0.2805,-0.0495), (0.2365,-0.0935,0.2805,-0.0495), (0.11,-0.088,0.154,-0.044), (0.242,-0.088,0.275,-0.055), (0.242,-0.088,0.275,-0.055), (0.341,-0.088,0.374,0.099), (0.341,-0.088,0.4675,-0.055), (0.4345,-0.088,0.4785,-0.044), (0.4345,-0.088,0.4675,-0.0495), (-1.089,-0.077,-1.045,-0.033), (-1.089,-0.077,-1.045,-0.033), (-0.99,-0.077,-0.946,-0.033), (0.572,-0.077,0.616,-0.033), (0.572,-0.077,0.616,-0.033), (0.572,-0.077,0.616,-0.033), (0.572,-0.077,0.616,-0.033), (-1.4905,-0.0715,-1.0505,-0.0385), (-0.6545,-0.066,-0.6215,0.121), (0.957,-0.066,1.001,-0.022), (0.9625,-0.0605,0.9955,0.0495), (0.0055,-0.0165,0.0495,0.0275), (0.0055,-0.011,0.0495,0.022), (0.1155,-0.0055,0.1485,0.1705), (0.77,0,0.814,0.044), (0.77,0,0.814,0.044), (0.77,0,0.814,0.044), (0.77,0,0.814,0.044), (0.0055,0.0055,0.0385,0.11), (0.8855,0.011,0.9295,0.055), (0.891,0.0165,0.9955,0.0495), (0.187,0.0605,0.231,0.1045), (0.187,0.0605,0.231,0.1045), (0.187,0.0605,0.231,0.1045), (0.1925,0.066,0.341,0.099), (0.1925,0.066,0.2255,0.099), (0.308,0.066,0.374,0.099), (-0.66,0.0825,-0.616,0.1265), (-0.462,0.0825,-0.418,0.1265), (-0.6545,0.088,-0.572,0.121), (-0.605,0.088,-0.4235,0.121), (-0.44,0.088,0.022,0.121), (0.0055,0.088,0.0385,0.1265), (0.506,0.099,0.55,0.143), (0.506,0.099,0.55,0.143), (0.506,0.099,0.748,0.143), (0.704,0.099,0.748,0.143), (0.704,0.099,0.748,0.143), (0.11,0.132,0.154,0.176), (0.11,0.132,0.154,0.176), (0.11,0.132,0.154,0.176), (0.803,0.1375,0.847,0.1815), (0.803,0.1375,0.847,0.1815), (0.803,0.1375,0.847,0.1815), (-0.561,0.165,-0.517,0.209), (-0.363,0.165,-0.319,0.209), (-0.2805,0.165,-0.2365,0.209), (-0.2805,0.165,-0.2365,0.209), (-0.2805,0.165,-0.2365,0.209), (-0.9185,0.1705,-0.7095,0.2035), (-0.7425,0.1705,-0.5225,0.2035), (-0.5555,0.1705,-0.4235,0.2035), (-0.4565,0.1705,-0.3245,0.2035), (0.924,0.187,0.968,0.231), (1.023,0.187,1.067,0.231), (1.023,0.187,1.067,0.231), (1.023,0.187,1.067,0.231), (-0.187,0.2035,-0.143,0.2475), (-0.088,0.2035,-0.044,0.2475), (-0.088,0.2035,-0.044,0.2475), (0.011,0.2035,0.055,0.2475), (0.209,0.2035,0.253,0.2475), (0.308,0.2035,0.352,0.2475), (0.308,0.2035,0.352,0.2475), (-0.0825,0.209,-0.0495,0.242), (0.011,0.209,0.2475,0.242), (0.011,0.209,0.0495,0.242), (0.3135,0.209,0.3465,0.242), (0.407,0.209,0.451,0.253), (0.605,0.209,0.649,0.253), (0.9295,0.209,0.9625,0.3025), (-0.187,0.2255,-0.143,0.3025), (0.407,0.231,0.451,0.3025), (0.605,0.231,0.649,0.3025), (-1.4905,0.286,-1.3805,0.319), (-0.8195,0.286,-0.715,0.319), (-0.748,0.286,-0.231,0.319), (-0.264,0.286,-0.1815,0.319), (-0.2365,0.286,-0.1815,0.319), (-0.2365,0.286,-0.1485,0.319), (-0.1815,0.286,0.4455,0.319), (0.4125,0.286,0.6435,0.319), (0.6105,0.286,0.9625,0.319), (0.9295,0.286,1.1385,0.319)])
R(fa_coutni, via2, [(1.034,-0.187,1.056,-0.165), (-0.077,-0.1815,-0.055,-0.1595), (0.319,-0.1815,0.341,-0.1595), (-0.55,-0.1485,-0.528,-0.1265), (-0.352,-0.1485,-0.33,-0.1265), (-0.913,-0.143,-0.891,-0.121), (-0.044,-0.0825,-0.022,-0.0605), (0.2475,-0.0825,0.2695,-0.0605), (0.2475,-0.0825,0.2695,-0.0605), (0.583,-0.066,0.605,-0.044), (0.0165,-0.0055,0.0385,0.0165), (0.781,0.011,0.803,0.033), (0.8965,0.022,0.9185,0.044), (0.198,0.0715,0.22,0.0935), (0.121,0.143,0.143,0.165), (0.814,0.1485,0.836,0.1705), (-0.2695,0.176,-0.2475,0.198), (1.034,0.198,1.056,0.22), (-0.077,0.2145,-0.055,0.2365), (0.319,0.2145,0.341,0.2365)])
R(fa_coutni, metal3, [(1.023,-0.198,1.067,-0.154), (-0.088,-0.1925,-0.044,-0.1485), (0.308,-0.1925,0.352,-0.1485), (1.0285,-0.1925,1.0615,0.055), (-0.0825,-0.187,0,-0.154), (-0.033,-0.187,0.3465,-0.154), (-0.561,-0.1595,-0.517,-0.1155), (-0.561,-0.1595,-0.517,-0.1155), (-0.561,-0.1595,-0.473,-0.1155), (-0.363,-0.1595,-0.319,-0.1155), (-0.924,-0.154,-0.88,-0.11), (-0.9185,-0.154,-0.5225,-0.121), (-0.5115,-0.154,-0.3245,-0.121), (-0.5115,-0.154,-0.4785,-0.121), (-0.055,-0.0935,-0.011,-0.0495), (0.2365,-0.0935,0.2805,-0.0495), (0.2365,-0.0935,0.2805,-0.0495), (-0.0495,-0.088,0.0495,-0.055), (0.0165,-0.088,0.275,-0.055), (0.242,-0.088,0.4565,-0.055), (0.4235,-0.088,0.6105,-0.055), (0.572,-0.077,0.616,-0.033), (0.572,-0.0715,0.616,-0.055), (-1.4905,-0.033,-0.242,0), (-0.275,-0.033,-0.242,0.099), (0.0055,-0.0165,0.0495,0.0275), (0.011,-0.011,0.2365,0.022), (0.2035,-0.011,0.374,0.022), (0.341,-0.011,0.374,0.0495), (0.77,0,0.814,0.044), (0.77,0,0.814,0.055), (0.8855,0.011,0.9295,0.055), (0.341,0.0165,0.7205,0.0495), (0.6875,0.0165,0.8085,0.0495), (0.7755,0.0165,0.9185,0.0495), (0.8855,0.0165,0.9295,0.0495), (1.0285,0.022,1.0615,0.055), (1.0285,0.022,1.0615,0.2255), (0.187,0.0605,0.231,0.1045), (-0.275,0.066,0.1815,0.099), (-0.275,0.066,-0.242,0.099), (-0.275,0.066,-0.242,0.2035), (0.1485,0.066,0.2255,0.099), (0.11,0.132,0.154,0.176), (0.803,0.132,0.847,0.1815), (0.1155,0.1375,0.462,0.1705), (0.429,0.1375,0.8415,0.1705), (0.803,0.1375,0.847,0.1815), (-0.2805,0.165,-0.2365,0.209), (1.023,0.187,1.067,0.231), (-0.088,0.2035,-0.044,0.2475), (0.308,0.2035,0.352,0.2475), (-0.0825,0.209,0.3465,0.242)])

lib.write_gds('FA_CoutNI.gds')
